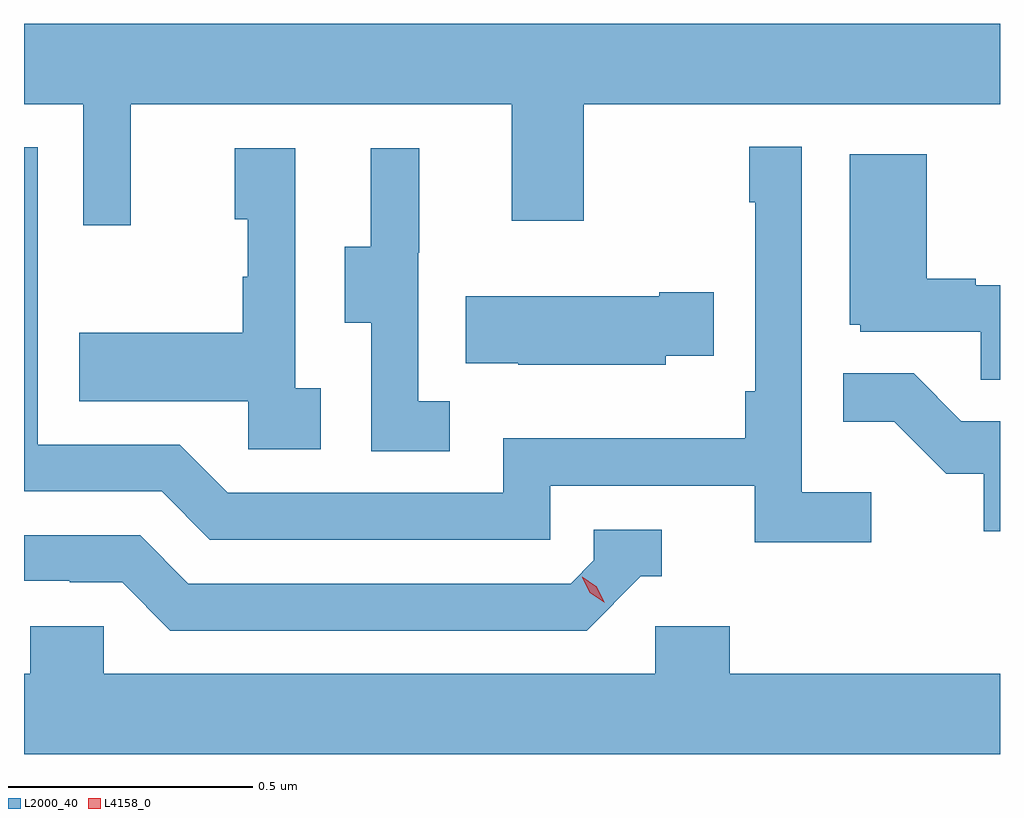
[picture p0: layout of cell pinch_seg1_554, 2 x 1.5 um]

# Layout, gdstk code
import gdstk
lib = gdstk.Library(unit=1e-6, precision=1e-09)
def P(c, l, *ps):  # polygons
    for p in ps: c.add(gdstk.Polygon(p, *l))
L2000_40 = (2000, 40)
L4158_0 = (4158, 0)

pinch_seg1_554 = lib.new_cell('pinch_seg1_554')
P(pinch_seg1_554, L2000_40, [(1025.675,529.088),(1026.455,529.088),(1026.455,528.849),(1026.603,528.849),(1026.603,529.088),(1027.456,529.088),(1027.456,529.252),(1025.456,529.252),(1025.456,529.088),(1025.577,529.088),(1025.577,528.84),(1025.675,528.84)],
  [(1027.192,528.292),(1027.05,528.292),(1027.05,529),(1026.942,529),(1026.942,528.887),(1026.954,528.887),(1026.954,528.499),(1026.934,528.499),(1026.934,528.403),(1026.438,528.403),(1026.438,528.291),(1025.874,528.291),(1025.775,528.39),(1025.484,528.39),(1025.484,528.999),(1025.456,528.999),(1025.456,528.294),(1025.738,528.294),(1025.837,528.195),(1026.534,528.195),(1026.534,528.306),(1026.953,528.306),(1026.953,528.19),(1027.192,528.19)],
  [(1026.064,528.506),(1026.012,528.506),(1026.012,528.997),(1025.888,528.997),(1025.888,528.852),(1025.914,528.852),(1025.914,528.734),(1025.904,528.734),(1025.904,528.619),(1025.569,528.619),(1025.569,528.479),(1025.916,528.479),(1025.916,528.381),(1026.064,528.381)],
  [(1026.328,528.479),(1026.264,528.479),(1026.264,528.783),(1026.266,528.783),(1026.266,528.997),(1026.167,528.997),(1026.167,528.795),(1026.113,528.795),(1026.113,528.64),(1026.168,528.64),(1026.168,528.376),(1026.328,528.376)],
  [(1027.456,528.717),(1027.406,528.717),(1027.406,528.73),(1027.306,528.73),(1027.306,528.985),(1027.148,528.985),(1027.148,528.636),(1027.17,528.636),(1027.17,528.621),(1027.417,528.621),(1027.417,528.523),(1027.456,528.523)],
  [(1026.771,528.572),(1026.869,528.572),(1026.869,528.702),(1026.758,528.702),(1026.758,528.694),(1026.361,528.694),(1026.361,528.557),(1026.469,528.557),(1026.469,528.554),(1026.771,528.554)],
  [(1027.456,528.438),(1027.377,528.438),(1027.279,528.536),(1027.135,528.536),(1027.135,528.437),(1027.239,528.437),(1027.346,528.33),(1027.423,528.33),(1027.423,528.213),(1027.456,528.213)],
  [(1026.72,528.12),(1026.763,528.12),(1026.763,528.216),(1026.624,528.216),(1026.624,528.153),(1026.576,528.105),(1025.793,528.105),(1025.694,528.204),(1025.456,528.204),(1025.456,528.111),(1025.55,528.111),(1025.55,528.108),(1025.657,528.108),(1025.756,528.009),(1026.609,528.009)],
  [(1027.456,527.92),(1026.902,527.92),(1026.902,528.018),(1026.75,528.018),(1026.75,527.92),(1025.619,527.92),(1025.619,528.018),(1025.469,528.018),(1025.469,527.92),(1025.456,527.92),(1025.456,527.756),(1027.456,527.756)])
P(pinch_seg1_554, L4158_0, [(1026.646,528.066),(1026.615,528.086),(1026.6,528.118),(1026.6,528.119),(1026.6,528.119),(1026.63,528.099),(1026.646,528.066),(1026.646,528.066)])

lib.write_gds('pinch_seg1_554.gds')
